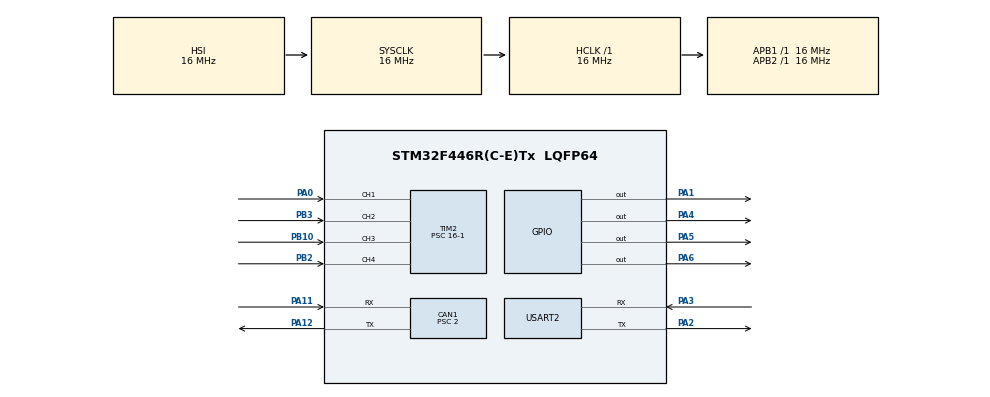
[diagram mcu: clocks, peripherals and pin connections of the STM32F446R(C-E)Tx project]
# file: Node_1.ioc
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CAN1.ABOM=ENABLE
CAN1.BS1=CAN_BS1_13TQ
CAN1.BS2=CAN_BS2_2TQ
CAN1.CalculateBaudRate=500000
CAN1.CalculateTimeBit=2000
CAN1.CalculateTimeQuantum=125.0
CAN1.Mode=CAN_MODE_LOOPBACK
CAN1.NART=ENABLE
CAN1.Prescaler=2
Mcu.Family=STM32F4
Mcu.Name=STM32F446R(C-E)Tx
Mcu.Package=LQFP64
NVIC.PriorityGroup=NVIC_PRIORITYGROUP_0
NVIC.TIM2_IRQn=true\:0\:0\:false\:false\:true\:true\:true\:true
PA0-WKUP.Signal=S_TIM2_CH1_ETR
PA1.Signal=GPIO_Output
PA11.Mode=CAN_Activate
PA11.Signal=CAN1_RX
PA12.Mode=CAN_Activate
PA12.Signal=CAN1_TX
PA2.Mode=Asynchronous
PA2.Signal=USART2_TX
PA3.Mode=Asynchronous
PA3.Signal=USART2_RX
PA4.Signal=GPIO_Output
PA5.Signal=GPIO_Output
PA6.Signal=GPIO_Output
PB10.Signal=S_TIM2_CH3
PB2.Signal=S_TIM2_CH4
PB3.Signal=S_TIM2_CH2
ProjectManager.HeapSize=0x200
ProjectManager.StackSize=0x400
ProjectManager.TargetToolchain=STM32CubeIDE
RCC.48MHZClocksFreq_Value=84000000
RCC.AHBFreq_Value=16000000
RCC.APB1Freq_Value=16000000
RCC.APB1TimFreq_Value=16000000
RCC.APB2Freq_Value=16000000
RCC.APB2TimFreq_Value=16000000
RCC.CortexFreq_Value=16000000
RCC.FLatency-AdvancedSettings=FLASH_LATENCY_0
RCC.HCLKFreq_Value=16000000
RCC.HSE_VALUE=8000000
RCC.HSI_VALUE=16000000
RCC.PLLN=336
RCC.PLLP=RCC_PLLP_DIV4
RCC.SYSCLKFreq_VALUE=16000000
RCC.USBFreq_Value=168000000
RCC.VCOOutputFreq_Value=336000000
SH.S_TIM2_CH1_ETR.0=TIM2_CH1,Input_Capture1_from_TI1
SH.S_TIM2_CH2.0=TIM2_CH2,Input_Capture2_from_TI2
SH.S_TIM2_CH3.0=TIM2_CH3,Input_Capture3_from_TI3
SH.S_TIM2_CH4.0=TIM2_CH4,Input_Capture4_from_TI4
TIM2.Channel-Input_Capture1_from_TI1=TIM_CHANNEL_1
TIM2.Channel-Input_Capture2_from_TI2=TIM_CHANNEL_2
TIM2.Channel-Input_Capture3_from_TI3=TIM_CHANNEL_3
TIM2.Channel-Input_Capture4_from_TI4=TIM_CHANNEL_4
TIM2.ICFilter_CH1=4
TIM2.ICFilter_CH2=4
TIM2.ICFilter_CH3=4
TIM2.ICFilter_CH4=4
TIM2.ICPolarity_CH1=TIM_INPUTCHANNELPOLARITY_BOTHEDGE
TIM2.ICPolarity_CH2=TIM_INPUTCHANNELPOLARITY_BOTHEDGE
TIM2.ICPolarity_CH3=TIM_INPUTCHANNELPOLARITY_BOTHEDGE
TIM2.ICPolarity_CH4=TIM_INPUTCHANNELPOLARITY_BOTHEDGE
TIM2.Prescaler=16-1
TIM6.Period=10
TIM6.Prescaler=16-1
TIM7.Period=3
TIM7.Prescaler=16-1
USART2.VirtualMode=VM_ASYNC
VP_TIM2_VS_ClockSourceINT.Mode=Internal
VP_TIM6_VS_ClockSourceINT.Mode=Enable_Timer
VP_TIM7_VS_ClockSourceINT.Mode=Enable_Timer
board=NUCLEO-F446RE

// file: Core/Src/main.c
/* USER CODE BEGIN Header */
/**
  ******************************************************************************
  * @file           : main.c
  * @brief          : Main program body
  ******************************************************************************
  * @attention
  *
  * Copyright (c) 2023 STMicroelectronics.
  * All rights reserved.
  *
  * This software is licensed under terms that can be found in the LICENSE file
  * in the root directory of this software component.
  * If no LICENSE file comes with this software, it is provided AS-IS.
  *
  ******************************************************************************
  */
/* USER CODE END Header */
#include "main.h"

CAN_HandleTypeDef hcan1;

TIM_HandleTypeDef htim2;
TIM_HandleTypeDef htim6;
TIM_HandleTypeDef htim7;

UART_HandleTypeDef huart2;

void SystemClock_Config(void);
static void MX_GPIO_Init(void);
static void MX_USART2_UART_Init(void);
static void MX_CAN1_Init(void);
static void MX_TIM2_Init(void);
static void MX_TIM6_Init(void);
static void MX_TIM7_Init(void);
/* USER CODE BEGIN PFP */
void CAN1_Tx_1(uint16_t distance_generic_1);
void CAN1_Tx_2(uint16_t distance_generic_2);
void CAN1_Tx_3(uint16_t distance_generic_3);
void CAN1_Tx_4(uint16_t distance_generic_4);
uint16_t distance_calculated_node_1(void);
uint16_t distance_calculated_node_2(void);
uint16_t distance_calculated_node_3(void);
uint16_t distance_calculated_node_4(void);
//uint16_t distance_calculated_node_2(void);
/* USER CODE END PFP */

/* USER CODE BEGIN 0 */
uint8_t icFlag_1 = 0;
uint8_t captureIdx_1 = 0;
uint32_t edge1Time_1 = 0, edge2Time_1 = 0;

uint8_t icFlag_2 = 0;
uint8_t captureIdx_2 = 0;
uint32_t edge1Time_2 = 0, edge2Time_2 = 0;

uint8_t icFlag_3 = 0;
uint8_t captureIdx_3 = 0;
uint32_t edge1Time_3 = 0, edge2Time_3 = 0;

uint8_t icFlag_4 = 0;
uint8_t captureIdx_4 = 0;
uint32_t edge1Time_4 = 0, edge2Time_4 = 0;

const float speedOfSound = 0.0343 / 2;

uint16_t distance_1;
uint16_t distance_2;
uint16_t distance_3;
uint16_t distance_4;
/* USER CODE END 0 */

int main(void)
{

  /* MCU Configuration--------------------------------------------------------*/

  /* Reset of all peripherals, Initializes the Flash interface and the Systick. */
  HAL_Init();

  /* Configure the system clock */
  SystemClock_Config();

  /* Initialize all configured peripherals */
  MX_GPIO_Init();
  MX_USART2_UART_Init();
  MX_CAN1_Init();
  MX_TIM2_Init();
  MX_TIM6_Init();
  MX_TIM7_Init();
  /* USER CODE BEGIN 2 */
  if(HAL_CAN_Start(&hcan1) != HAL_OK)
  {
	  Error_Handler();
  }
  /* USER CODE END 2 */

  /* Infinite loop */
  while (1)
  {

    /* USER CODE BEGIN 3 */
	  CAN1_Tx_1(distance_calculated_node_1());
	  HAL_Delay(1000);
	  CAN1_Tx_2(distance_calculated_node_2());
	  HAL_Delay(1000);
	  CAN1_Tx_3(distance_calculated_node_3());
	  HAL_Delay(1000);
	  CAN1_Tx_4(distance_calculated_node_4());
	  HAL_Delay(1000);
  }
  /* USER CODE END 3 */
}

void SystemClock_Config(void)
{
  RCC_OscInitTypeDef RCC_OscInitStruct = {0};
  RCC_ClkInitTypeDef RCC_ClkInitStruct = {0};

  /** Configure the main internal regulator output voltage
  */
  __HAL_RCC_PWR_CLK_ENABLE();
  __HAL_PWR_VOLTAGESCALING_CONFIG(PWR_REGULATOR_VOLTAGE_SCALE3);

  /** Initializes the RCC Oscillators according to the specified parameters
  * in the RCC_OscInitTypeDef structure.
  */
  RCC_OscInitStruct.OscillatorType = RCC_OSCILLATORTYPE_HSI;
  RCC_OscInitStruct.HSIState = RCC_HSI_ON;
  RCC_OscInitStruct.HSICalibrationValue = RCC_HSICALIBRATION_DEFAULT;
  RCC_OscInitStruct.PLL.PLLState = RCC_PLL_NONE;
  if (HAL_RCC_OscConfig(&RCC_OscInitStruct) != HAL_OK)
  {
    Error_Handler();
  }

  /** Initializes the CPU, AHB and APB buses clocks
  */
  RCC_ClkInitStruct.ClockType = RCC_CLOCKTYPE_HCLK|RCC_CLOCKTYPE_SYSCLK
                              |RCC_CLOCKTYPE_PCLK1|RCC_CLOCKTYPE_PCLK2;
  RCC_ClkInitStruct.SYSCLKSource = RCC_SYSCLKSOURCE_HSI;
  RCC_ClkInitStruct.AHBCLKDivider = RCC_SYSCLK_DIV1;
  RCC_ClkInitStruct.APB1CLKDivider = RCC_HCLK_DIV1;
  RCC_ClkInitStruct.APB2CLKDivider = RCC_HCLK_DIV1;

  if (HAL_RCC_ClockConfig(&RCC_ClkInitStruct, FLASH_LATENCY_0) != HAL_OK)
  {
    Error_Handler();
  }
}

static void MX_CAN1_Init(void)
{

  hcan1.Instance = CAN1;
  hcan1.Init.Prescaler = 2;
  hcan1.Init.Mode = CAN_MODE_LOOPBACK;
  hcan1.Init.SyncJumpWidth = CAN_SJW_1TQ;
  hcan1.Init.TimeSeg1 = CAN_BS1_13TQ;
  hcan1.Init.TimeSeg2 = CAN_BS2_2TQ;
  hcan1.Init.TimeTriggeredMode = DISABLE;
  hcan1.Init.AutoBusOff = ENABLE;
  hcan1.Init.AutoWakeUp = DISABLE;
  hcan1.Init.AutoRetransmission = ENABLE;
  hcan1.Init.ReceiveFifoLocked = DISABLE;
  hcan1.Init.TransmitFifoPriority = DISABLE;
  if (HAL_CAN_Init(&hcan1) != HAL_OK)
  {
    Error_Handler();
  }

}

static void MX_TIM2_Init(void)
{

  TIM_ClockConfigTypeDef sClockSourceConfig = {0};
  TIM_MasterConfigTypeDef sMasterConfig = {0};
  TIM_IC_InitTypeDef sConfigIC = {0};

  htim2.Instance = TIM2;
  htim2.Init.Prescaler = 16-1;
  htim2.Init.CounterMode = TIM_COUNTERMODE_UP;
  htim2.Init.Period = 4294967295;
  htim2.Init.ClockDivision = TIM_CLOCKDIVISION_DIV1;
  htim2.Init.AutoReloadPreload = TIM_AUTORELOAD_PRELOAD_DISABLE;
  if (HAL_TIM_Base_Init(&htim2) != HAL_OK)
  {
    Error_Handler();
  }
  sClockSourceConfig.ClockSource = TIM_CLOCKSOURCE_INTERNAL;
  if (HAL_TIM_ConfigClockSource(&htim2, &sClockSourceConfig) != HAL_OK)
  {
    Error_Handler();
  }
  if (HAL_TIM_IC_Init(&htim2) != HAL_OK)
  {
    Error_Handler();
  }
  sMasterConfig.MasterOutputTrigger = TIM_TRGO_RESET;
  sMasterConfig.MasterSlaveMode = TIM_MASTERSLAVEMODE_DISABLE;
  if (HAL_TIMEx_MasterConfigSynchronization(&htim2, &sMasterConfig) != HAL_OK)
  {
    Error_Handler();
  }
  sConfigIC.ICPolarity = TIM_INPUTCHANNELPOLARITY_BOTHEDGE;
  sConfigIC.ICSelection = TIM_ICSELECTION_DIRECTTI;
  sConfigIC.ICPrescaler = TIM_ICPSC_DIV1;
  sConfigIC.ICFilter = 4;
  if (HAL_TIM_IC_ConfigChannel(&htim2, &sConfigIC, TIM_CHANNEL_1) != HAL_OK)
  {
    Error_Handler();
  }
  if (HAL_TIM_IC_ConfigChannel(&htim2, &sConfigIC, TIM_CHANNEL_2) != HAL_OK)
  {
    Error_Handler();
  }
  if (HAL_TIM_IC_ConfigChannel(&htim2, &sConfigIC, TIM_CHANNEL_3) != HAL_OK)
  {
    Error_Handler();
  }
  if (HAL_TIM_IC_ConfigChannel(&htim2, &sConfigIC, TIM_CHANNEL_4) != HAL_OK)
  {
    Error_Handler();
  }

}

static void MX_TIM6_Init(void)
{

  TIM_MasterConfigTypeDef sMasterConfig = {0};

  htim6.Instance = TIM6;
  htim6.Init.Prescaler = 16-1;
  htim6.Init.CounterMode = TIM_COUNTERMODE_UP;
  htim6.Init.Period = 10;
  htim6.Init.AutoReloadPreload = TIM_AUTORELOAD_PRELOAD_DISABLE;
  if (HAL_TIM_Base_Init(&htim6) != HAL_OK)
  {
    Error_Handler();
  }
  sMasterConfig.MasterOutputTrigger = TIM_TRGO_RESET;
  sMasterConfig.MasterSlaveMode = TIM_MASTERSLAVEMODE_DISABLE;
  if (HAL_TIMEx_MasterConfigSynchronization(&htim6, &sMasterConfig) != HAL_OK)
  {
    Error_Handler();
  }

}

static void MX_TIM7_Init(void)
{

  TIM_MasterConfigTypeDef sMasterConfig = {0};

  htim7.Instance = TIM7;
  htim7.Init.Prescaler = 16-1;
  htim7.Init.CounterMode = TIM_COUNTERMODE_UP;
  htim7.Init.Period = 3;
  htim7.Init.AutoReloadPreload = TIM_AUTORELOAD_PRELOAD_DISABLE;
  if (HAL_TIM_Base_Init(&htim7) != HAL_OK)
  {
    Error_Handler();
  }
  sMasterConfig.MasterOutputTrigger = TIM_TRGO_RESET;
  sMasterConfig.MasterSlaveMode = TIM_MASTERSLAVEMODE_DISABLE;
  if (HAL_TIMEx_MasterConfigSynchronization(&htim7, &sMasterConfig) != HAL_OK)
  {
    Error_Handler();
  }

}

static void MX_USART2_UART_Init(void)
{

  huart2.Instance = USART2;
  huart2.Init.BaudRate = 115200;
  huart2.Init.WordLength = UART_WORDLENGTH_8B;
  huart2.Init.StopBits = UART_STOPBITS_1;
  huart2.Init.Parity = UART_PARITY_NONE;
  huart2.Init.Mode = UART_MODE_TX_RX;
  huart2.Init.HwFlowCtl = UART_HWCONTROL_NONE;
  huart2.Init.OverSampling = UART_OVERSAMPLING_16;
  if (HAL_UART_Init(&huart2) != HAL_OK)
  {
    Error_Handler();
  }

}

static void MX_GPIO_Init(void)
{
  GPIO_InitTypeDef GPIO_InitStruct = {0};

  /* GPIO Ports Clock Enable */
  __HAL_RCC_GPIOA_CLK_ENABLE();
  __HAL_RCC_GPIOB_CLK_ENABLE();

  /*Configure GPIO pin Output Level */
  HAL_GPIO_WritePin(GPIOA, GPIO_PIN_1|GPIO_PIN_4|GPIO_PIN_5|GPIO_PIN_6, GPIO_PIN_RESET);

  /*Configure GPIO pins : PA1 PA4 PA5 PA6 */
  GPIO_InitStruct.Pin = GPIO_PIN_1|GPIO_PIN_4|GPIO_PIN_5|GPIO_PIN_6;
  GPIO_InitStruct.Mode = GPIO_MODE_OUTPUT_PP;
  GPIO_InitStruct.Pull = GPIO_NOPULL;
  GPIO_InitStruct.Speed = GPIO_SPEED_FREQ_LOW;
  HAL_GPIO_Init(GPIOA, &GPIO_InitStruct);

}

/* USER CODE BEGIN 4 */
void CAN1_Tx_1(uint16_t distance_generic_1)
{
	char msg[50];

	CAN_TxHeaderTypeDef TxHeader;

	uint32_t TxMailbox;

	uint8_t our_message[2];

	our_message[0] = (uint8_t)(distance_generic_1 >> 8);
	our_message[1] = (uint8_t) distance_generic_1;

	TxHeader.DLC = 2;
	TxHeader.StdId = 0x65D;
	TxHeader.IDE   = CAN_ID_STD;
	TxHeader.RTR = CAN_RTR_DATA;

	if( HAL_CAN_AddTxMessage(&hcan1,&TxHeader,our_message,&TxMailbox) != HAL_OK)
	{
		Error_Handler();
	}

	while( HAL_CAN_IsTxMessagePending(&hcan1,TxMailbox));

	sprintf(msg,"Message 1 Transmitted\r\n");
	HAL_UART_Transmit(&huart2,(uint8_t*)msg,strlen(msg),HAL_MAX_DELAY);
}

void CAN1_Tx_2(uint16_t distance_generic_2)
{
	char msg[50];

	CAN_TxHeaderTypeDef TxHeader;

	uint32_t TxMailbox;

	uint8_t our_message[2];

	our_message[0] = (uint8_t)(distance_generic_2 >> 8);
	our_message[1] = (uint8_t) distance_generic_2;

	TxHeader.DLC = 2;
	TxHeader.StdId = 0x66D;
	TxHeader.IDE   = CAN_ID_STD;
	TxHeader.RTR = CAN_RTR_DATA;

	if( HAL_CAN_AddTxMessage(&hcan1,&TxHeader,our_message,&TxMailbox) != HAL_OK)
	{
		Error_Handler();
	}

	while( HAL_CAN_IsTxMessagePending(&hcan1,TxMailbox));

	sprintf(msg,"Message 2 Transmitted\r\n");
	HAL_UART_Transmit(&huart2,(uint8_t*)msg,strlen(msg),HAL_MAX_DELAY);
}

void CAN1_Tx_3(uint16_t distance_generic_3)
{
	char msg[50];

	CAN_TxHeaderTypeDef TxHeader;

	uint32_t TxMailbox;

	uint8_t our_message[2];

	our_message[0] = (uint8_t)(distance_generic_3 >> 8);
	our_message[1] = (uint8_t) distance_generic_3;

	TxHeader.DLC = 2;
	TxHeader.StdId = 0x67D;
	TxHeader.IDE   = CAN_ID_STD;
	TxHeader.RTR = CAN_RTR_DATA;

	if( HAL_CAN_AddTxMessage(&hcan1,&TxHeader,our_message,&TxMailbox) != HAL_OK)
	{
		Error_Handler();
	}

	while( HAL_CAN_IsTxMessagePending(&hcan1,TxMailbox));

	sprintf(msg,"Message 3 Transmitted\r\n");
	HAL_UART_Transmit(&huart2,(uint8_t*)msg,strlen(msg),HAL_MAX_DELAY);
}

void CAN1_Tx_4(uint16_t distance_generic_4)
{
	char msg[50];

	CAN_TxHeaderTypeDef TxHeader;

	uint32_t TxMailbox;

	uint8_t our_message[2];

	our_message[0] = (uint8_t)(distance_generic_4 >> 8);
	our_message[1] = (uint8_t) distance_generic_4;

	TxHeader.DLC = 2;
	TxHeader.StdId = 0x68D;
	TxHeader.IDE   = CAN_ID_STD;
	TxHeader.RTR = CAN_RTR_DATA;

	if( HAL_CAN_AddTxMessage(&hcan1,&TxHeader,our_message,&TxMailbox) != HAL_OK)
	{
		Error_Handler();
	}

	while( HAL_CAN_IsTxMessagePending(&hcan1,TxMailbox));

	sprintf(msg,"Message 4 Transmitted\r\n");
	HAL_UART_Transmit(&huart2,(uint8_t*)msg,strlen(msg),HAL_MAX_DELAY);
}

uint16_t distance_calculated_node_1(void)
{
	HAL_TIM_Base_Start(&htim7);
	HAL_GPIO_WritePin(GPIOA, GPIO_PIN_1, GPIO_PIN_RESET);
	while( ! (TIM7->SR & TIM_SR_UIF) );
	TIM7->SR = 0;
	HAL_TIM_Base_Stop(&htim7);

	HAL_TIM_Base_Start(&htim6);
	HAL_GPIO_WritePin(GPIOA, GPIO_PIN_1, GPIO_PIN_SET);
	while( ! (TIM6->SR & TIM_SR_UIF) );
	TIM6->SR = 0;
	HAL_GPIO_WritePin(GPIOA, GPIO_PIN_1, GPIO_PIN_RESET);
	HAL_TIM_Base_Stop(&htim6);

	HAL_TIM_IC_Start_IT(&htim2, TIM_CHANNEL_1);
	uint32_t startTick_1 = HAL_GetTick();
	do
	{
		if(icFlag_1) break;
	}while((HAL_GetTick() - startTick_1) < 500);
	icFlag_1 = 0;
	HAL_TIM_IC_Stop_IT(&htim2, TIM_CHANNEL_1);

	if(edge2Time_1 > edge1Time_1)
	{
		distance_1 = (uint16_t)(((edge2Time_1 - edge1Time_1) + 0.0f) * speedOfSound);
	}
	else
	{
		distance_1 = 0;
	}
	return distance_1;
}

uint16_t distance_calculated_node_2(void)
{
	HAL_TIM_Base_Start(&htim7);
	HAL_GPIO_WritePin(GPIOA, GPIO_PIN_4, GPIO_PIN_RESET);
	while( ! (TIM7->SR & TIM_SR_UIF) );
	TIM7->SR = 0;
	HAL_TIM_Base_Stop(&htim7);

	HAL_TIM_Base_Start(&htim6);
	HAL_GPIO_WritePin(GPIOA, GPIO_PIN_4, GPIO_PIN_SET);
	while( ! (TIM6->SR & TIM_SR_UIF) );
	TIM6->SR = 0;
	HAL_GPIO_WritePin(GPIOA, GPIO_PIN_4, GPIO_PIN_RESET);
	HAL_TIM_Base_Stop(&htim6);

	HAL_TIM_IC_Start_IT(&htim2, TIM_CHANNEL_2);
	uint32_t startTick_2 = HAL_GetTick();
	do
	{
		if(icFlag_2) break;
	}while((HAL_GetTick() - startTick_2) < 500);
	icFlag_2 = 0;
	HAL_TIM_IC_Stop_IT(&htim2, TIM_CHANNEL_2);

	if(edge2Time_2 > edge1Time_2)
	{
		distance_2 = (uint16_t)(((edge2Time_2 - edge1Time_2) + 0.0f) * speedOfSound);
	}
	else
	{
		distance_2 = 0;
	}
	return distance_2;
}

uint16_t distance_calculated_node_3(void)
{
	HAL_TIM_Base_Start(&htim7);
	HAL_GPIO_WritePin(GPIOA, GPIO_PIN_5, GPIO_PIN_RESET);
	while( ! (TIM7->SR & TIM_SR_UIF) );
	TIM7->SR = 0;
	HAL_TIM_Base_Stop(&htim7);

	HAL_TIM_Base_Start(&htim6);
	HAL_GPIO_WritePin(GPIOA, GPIO_PIN_5, GPIO_PIN_SET);
	while( ! (TIM6->SR & TIM_SR_UIF) );
	TIM6->SR = 0;
	HAL_GPIO_WritePin(GPIOA, GPIO_PIN_5, GPIO_PIN_RESET);
	HAL_TIM_Base_Stop(&htim6);

	HAL_TIM_IC_Start_IT(&htim2, TIM_CHANNEL_3);
	uint32_t startTick_3 = HAL_GetTick();
	do
	{
		if(icFlag_3) break;
	}while((HAL_GetTick() - startTick_3) < 500);
	icFlag_3 = 0;
	HAL_TIM_IC_Stop_IT(&htim2, TIM_CHANNEL_3);

	if(edge2Time_3 > edge1Time_3)
	{
		distance_3 = (uint16_t)(((edge2Time_3 - edge1Time_3) + 0.0f) * speedOfSound);
	}
	else
	{
		distance_3 = 0;
	}
	return distance_3;
}

uint16_t distance_calculated_node_4(void)
{
	HAL_TIM_Base_Start(&htim7);
	HAL_GPIO_WritePin(GPIOA, GPIO_PIN_6, GPIO_PIN_RESET);
	while( ! (TIM7->SR & TIM_SR_UIF) );
	TIM7->SR = 0;
	HAL_TIM_Base_Stop(&htim7);

	HAL_TIM_Base_Start(&htim6);
	HAL_GPIO_WritePin(GPIOA, GPIO_PIN_6, GPIO_PIN_SET);
	while( ! (TIM6->SR & TIM_SR_UIF) );
	TIM6->SR = 0;
	HAL_GPIO_WritePin(GPIOA, GPIO_PIN_6, GPIO_PIN_RESET);
	HAL_TIM_Base_Stop(&htim6);

	HAL_TIM_IC_Start_IT(&htim2, TIM_CHANNEL_4);
	uint32_t startTick_4 = HAL_GetTick();
	do
	{
		if(icFlag_4) break;
	}while((HAL_GetTick() - startTick_4) < 500);
	icFlag_4 = 0;
	HAL_TIM_IC_Stop_IT(&htim2, TIM_CHANNEL_4);

	if(edge2Time_4 > edge1Time_4)
	{
		distance_4 = (uint16_t)(((edge2Time_4 - edge1Time_4) + 0.0f) * speedOfSound);
	}
	else
	{
		distance_4 = 0;
	}
	return distance_4;
}

void HAL_TIM_IC_CaptureCallback(TIM_HandleTypeDef *htim)
{
	if (htim->Instance == TIM2)
	{
		if (htim->Channel == HAL_TIM_ACTIVE_CHANNEL_1)
		{
			if (captureIdx_1 == 0)
			{
				edge1Time_1 = HAL_TIM_ReadCapturedValue(htim, TIM_CHANNEL_1);
				captureIdx_1 = 1;
			}
			else
			{
				edge2Time_1 = HAL_TIM_ReadCapturedValue(htim, TIM_CHANNEL_1);
				captureIdx_1 = 0;
				icFlag_1 = 1;
			}
		}
		else if (htim->Channel == HAL_TIM_ACTIVE_CHANNEL_2)
		{
			if (captureIdx_2 == 0)
			{
				edge1Time_2 = HAL_TIM_ReadCapturedValue(htim, TIM_CHANNEL_2);
				captureIdx_2 = 1;
			}
			else
			{
				edge2Time_2 = HAL_TIM_ReadCapturedValue(htim, TIM_CHANNEL_2);
				captureIdx_2 = 0;
				icFlag_2 = 0;
			}
		}
		else if (htim->Channel == HAL_TIM_ACTIVE_CHANNEL_3)
		{
			if (captureIdx_3 == 0)
			{
				edge1Time_3 = HAL_TIM_ReadCapturedValue(htim, TIM_CHANNEL_3);
				captureIdx_3 = 1;
			}
			else
			{
				edge2Time_3 = HAL_TIM_ReadCapturedValue(htim, TIM_CHANNEL_3);
				captureIdx_3 = 0;
				icFlag_3 = 0;
			}
		}
		else if (htim->Channel == HAL_TIM_ACTIVE_CHANNEL_4)
		{
			if (captureIdx_4 == 0)
			{
				edge1Time_4 = HAL_TIM_ReadCapturedValue(htim, TIM_CHANNEL_4);
				captureIdx_4 = 1;
			}
			else
			{
				edge2Time_4 = HAL_TIM_ReadCapturedValue(htim, TIM_CHANNEL_4);
				captureIdx_4 = 0;
				icFlag_4 = 0;
			}
		}
	}
}
/* USER CODE END 4 */

void Error_Handler(void)
{
  __disable_irq();
  while (1)
  {
  }
}
